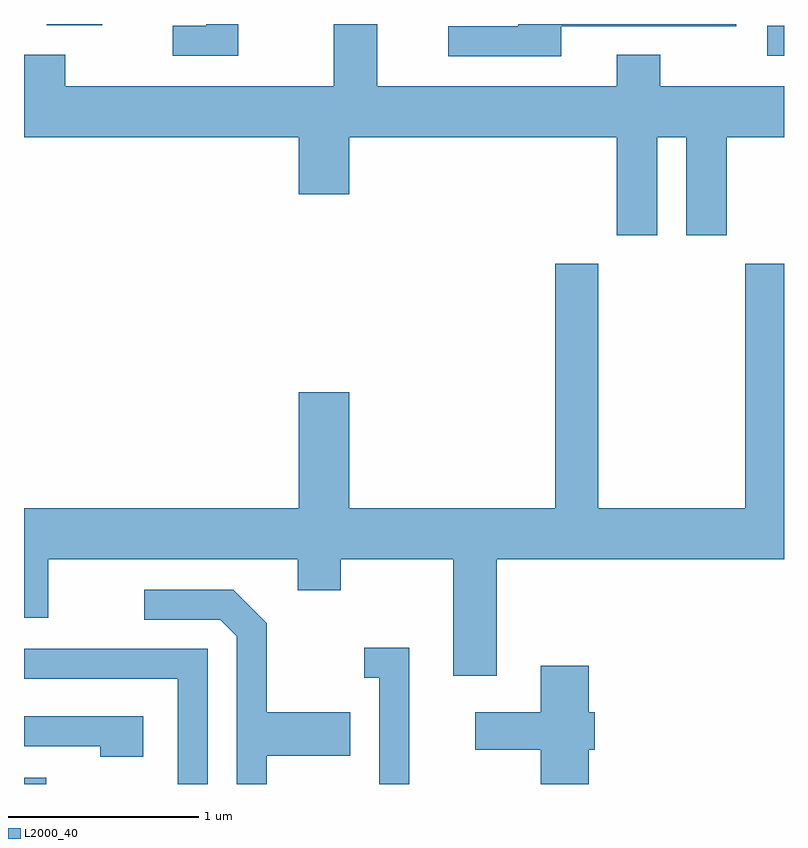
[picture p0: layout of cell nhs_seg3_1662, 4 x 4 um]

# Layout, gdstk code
import gdstk
lib = gdstk.Library(unit=1e-6, precision=1e-09)
def R(c, l, rs):  # rectangles x0, y0, x1, y1
    for r in rs: c.add(gdstk.rectangle(r[:2], r[2:], *l))
def P(c, l, *ps):  # polygons
    for p in ps: c.add(gdstk.Polygon(p, *l))
L2000_40 = (2000, 40)

nhs_seg3_1662 = lib.new_cell('nhs_seg3_1662')
R(nhs_seg3_1662, L2000_40, [(233.611,1175.892,233.728,1175.924), (237.523,1179.726,237.611,1179.884), (233.731,1179.886,234.024,1179.892)])
P(nhs_seg3_1662, L2000_40, [(236.944,1179.296),(237.096,1179.296),(237.096,1178.781),(237.309,1178.781),(237.309,1179.296),(237.611,1179.296),(237.611,1179.564),(236.959,1179.564),(236.959,1179.729),(236.731,1179.729),(236.731,1179.564),(235.469,1179.564),(235.469,1179.892),(235.241,1179.892),(235.241,1179.564),(233.829,1179.564),(233.829,1179.729),(233.611,1179.729),(233.611,1179.296),(235.056,1179.296),(235.056,1178.996),(235.324,1178.996),(235.324,1179.296),(236.731,1179.296),(236.731,1178.781),(236.944,1178.781)],
  [(236.439,1179.881),(237.359,1179.881),(237.359,1179.892),(236.211,1179.892),(236.211,1179.879),(235.843,1179.879),(235.843,1179.721),(236.439,1179.721)],
  [(234.739,1179.892),(234.571,1179.892),(234.571,1179.884),(234.393,1179.884),(234.393,1179.726),(234.739,1179.726)],
  [(236.099,1177.076),(237.611,1177.076),(237.611,1178.629),(237.406,1178.629),(237.406,1177.344),(236.634,1177.344),(236.634,1178.629),(236.406,1178.629),(236.406,1177.344),(235.324,1177.344),(235.324,1177.954),(235.056,1177.954),(235.056,1177.344),(233.611,1177.344),(233.611,1176.766),(233.739,1176.766),(233.739,1177.076),(235.051,1177.076),(235.051,1176.911),(235.279,1176.911),(235.279,1177.076),(235.871,1177.076),(235.871,1176.461),(236.099,1176.461)],
  [(234.889,1176.041),(235.329,1176.041),(235.329,1176.269),(234.889,1176.269),(234.889,1176.737),(234.712,1176.914),(234.243,1176.914),(234.243,1176.756),(234.644,1176.756),(234.731,1176.669),(234.731,1175.892),(234.889,1175.892)],
  [(235.639,1176.609),(235.403,1176.609),(235.403,1176.451),(235.481,1176.451),(235.481,1175.892),(235.639,1175.892)],
  [(234.579,1176.604),(233.611,1176.604),(233.611,1176.446),(234.421,1176.446),(234.421,1175.892),(234.579,1175.892)],
  [(236.584,1176.071),(236.614,1176.071),(236.614,1176.269),(236.584,1176.269),(236.584,1176.514),(236.331,1176.514),(236.331,1176.269),(235.986,1176.269),(235.986,1176.071),(236.331,1176.071),(236.331,1175.892),(236.584,1175.892)],
  [(234.239,1176.249),(233.611,1176.249),(233.611,1176.091),(234.011,1176.091),(234.011,1176.036),(234.239,1176.036)])

lib.write_gds('nhs_seg3_1662.gds')
